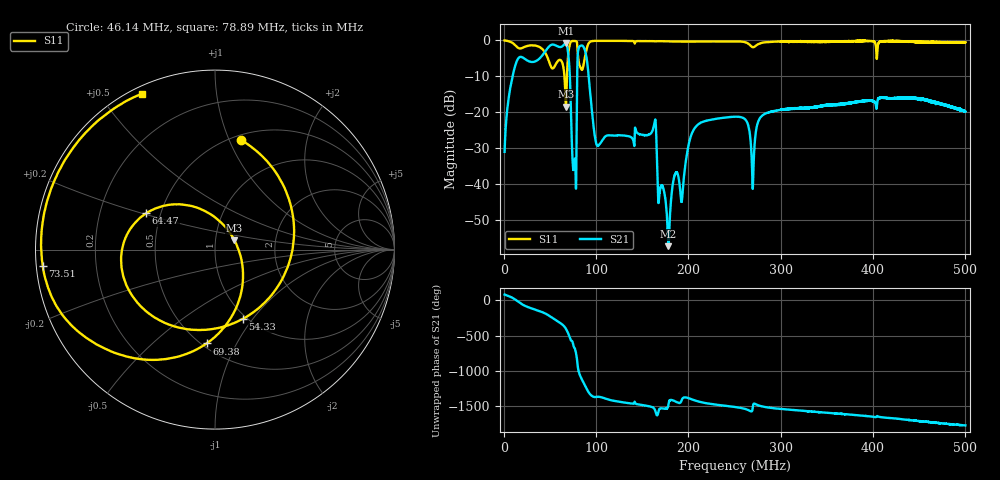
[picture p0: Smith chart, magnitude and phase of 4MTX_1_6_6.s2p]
! NanoVNA-App
! Date: 2026-08-18 21:16:56
! Start: 1MHz Stop: 500MHz Points: 6401
! S-Parameter data: F S11 S21 S12 S22
# Hz S RI R 50
!  Frequency  S11_Real  S11_Imag  S21_Real  S21_Imag  S12_Real  S12_Imag  S22_Real  S22_Imag
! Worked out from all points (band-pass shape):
!   6401 points, 1 MHz to 500 MHz, reference 50 ohm
!   highest |S21| = -0.90 dB at 67.12 MHz (marker M1); lowest = -57.1 dB at 178.5 MHz (marker M2)
!   |S21| within 3 dB of the highest: 42.85 MHz to 69.92 MHz (27.07 MHz wide, 48 % of centre); 80.23 MHz to 89.07 MHz (8.84 MHz wide, 10.4 % of centre)
!   lowest |S11| = -18.4 dB at 67.43 MHz (marker M3), VSWR 1.27, Z = 61.8 + j6.43 ohm
!   |S11| at or under -10 dB: 65.77 MHz to 68.53 MHz (2.761 MHz wide, 4.11 % of centre)
!   S12 and S22 are empty: the file has one direction only
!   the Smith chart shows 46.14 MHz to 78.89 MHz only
!   S11 on the Smith chart (normalised r, x): 46.14 MHz: 0.55, +1.11; 54.33 MHz: 0.96, -0.90; 64.47 MHz: 0.42, +0.21; 69.38 MHz: 0.53, -0.76; 73.51 MHz: 0.02, -0.05; 78.89 MHz: 0.03, +0.63
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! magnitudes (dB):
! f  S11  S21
! 1 MHz  -0.1  -31.0
! 14.49 MHz  -1.9  -5.6
! 46.14 MHz  -4.0  -2.7
! 54.33 MHz  -7.6  -1.3
! 64.47 MHz  -7.3  -1.5
! 67.12 MHz  -17.3  -0.9
! 67.43 MHz  -18.4  -0.9
! 69.38 MHz  -5.6  -2.8
! 73.51 MHz  -0.3  -26.1
! 76.4 MHz  -0.2  -35.2
! 78.89 MHz  -0.4  -28.5
! 84.19 MHz  -8.1  -1.5
! 101.2 MHz  -0.2  -29.3
! 162.7 MHz  -0.3  -23.7
! 167.4 MHz  -0.3  -44.6
! 178.5 MHz  -0.3  -57.1
! 206.4 MHz  -0.4  -24.6
! 250.5 MHz  -0.4  -21.2
! 269.8 MHz  -2.0  -41.2
! 333.7 MHz  -0.5  -18.6
! 416.9 MHz  -0.3  -16.1
! 500 MHz  -0.6  -19.8
